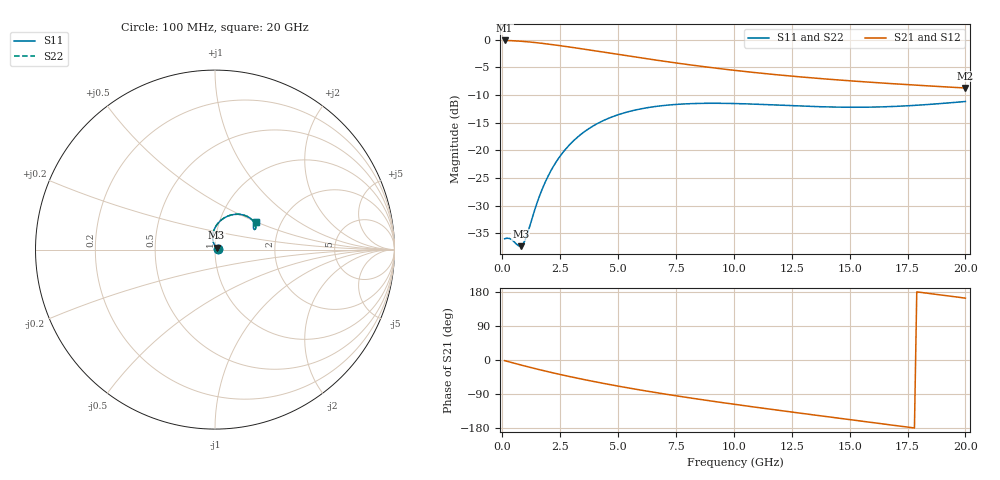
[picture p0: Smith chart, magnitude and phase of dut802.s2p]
! Touchstone file exported from HFSS 2024.1.0
!  File:  C:/UserFiles/LocalFiles/RDL_TSV_Batchsim/temp_RDL_TSV_802_1779910748.aedt
!  Generated:  03:57:22 AM May 28, 2026
!  Design:  RDL_TSV
!  Project:  temp_RDL_TSV_802_1779910748
!  Setup:  Setup1
!  Solution:  Sweep
! Variables:
!  dtsv = 9.76um
!  hbump = 3um
!  htsv = 81.83um
!  ldown = 626.86um
!  lrdl = 200.55um
!  p = 40
!  p1 = 40.78um
!  rhole = 10um
!  subl = 2682.78um
!  t = 450um
!  tdown = 4.05um
!  trdl = 3.73um
!  viad = 10um
!  wdown = 16.73um
!  wrdl = 14.18um
!  xbump = 18um
# GHz S MA R 50.000000
! Terminal data exported
! Port[1] = TM1_1_T1
! Port[2] = TM1_4_T1
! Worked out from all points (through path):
!   200 points, 100 MHz to 20 GHz, reference 50 ohm
!   highest |S21| = -0.14 dB at 100 MHz (marker M1); lowest = -8.7 dB at 20 GHz (marker M2)
!   group delay of S21, straight-line fit = 25.8 ps
!   lowest |S11| = -37.3 dB at 800 MHz (marker M3), VSWR 1.03, Z = 50.9 + j1.05 ohm
!   |S11| at or under -10 dB: start of sweep to end of sweep
!   |S22| runs from -37.3 to -11.2 dB; largest |S21 - S12| = 1.5e-13
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0.1  0.01585 5.2  0.9838 -1.7  0.9838 -1.7  0.01585 5.2
! Gamma 0 0 0 0
! Port Impedance 50 0 50 0
0.3  0.01597 13.3  0.9812 -5.0  0.9812 -5.0  0.01596 13.3
0.7  0.01369 38.2  0.9712 -11.5  0.9712 -11.5  0.01369 38.2
0.8  0.01358 49.3  0.968 -13.1  0.968 -13.1  0.01358 49.2
0.9  0.01418 61.3  0.9644 -14.7  0.9644 -14.7  0.01417 61.3
1  0.01564 72.8  0.9606 -16.3  0.9606 -16.3  0.01564 72.8
1.6  0.0382 101.8  0.933 -25.5  0.933 -25.5  0.03819 101.8
1.8  0.04858 102.7  0.9224 -28.4  0.9224 -28.4  0.04857 102.7
2.1  0.06533 101.3  0.9057 -32.7  0.9057 -32.7  0.06531 101.3
2.7  0.1003 94.8  0.8707 -40.9  0.8707 -40.9  0.1003 94.8
3.5  0.1448 84.2  0.8229 -51.3  0.8229 -51.3  0.1448 84.2
4.2  0.1785 75.2  0.7817 -59.7  0.7817 -59.7  0.1785 75.3
4.9  0.206 67.1  0.7421 -67.8  0.7421 -67.8  0.206 67.1
5.8  0.2326 57.9  0.6943 -77.5  0.6943 -77.5  0.2326 57.9
6.8  0.2517 49.3  0.6463 -87.7  0.6463 -87.7  0.2517 49.4
8.4  0.265 39.0  0.581 -102.7  0.581 -102.7  0.265 39.0
10.1  0.2644 31.7  0.5259 -117.5  0.5259 -117.5  0.2645 31.7
11.7  0.2572 28.0  0.4852 -130.8  0.4852 -130.8  0.2573 28.0
13.4  0.2489 26.9  0.4509 -144.6  0.4509 -144.6  0.249 26.9
15  0.2449 27.9  0.4248 -157.3  0.4248 -157.3  0.245 27.9
16.7  0.248 30.2  0.4018 -170.7  0.4018 -170.7  0.2481 30.2
20  0.276 33.5  0.3655 163.3  0.3655 163.3  0.2762 33.5
